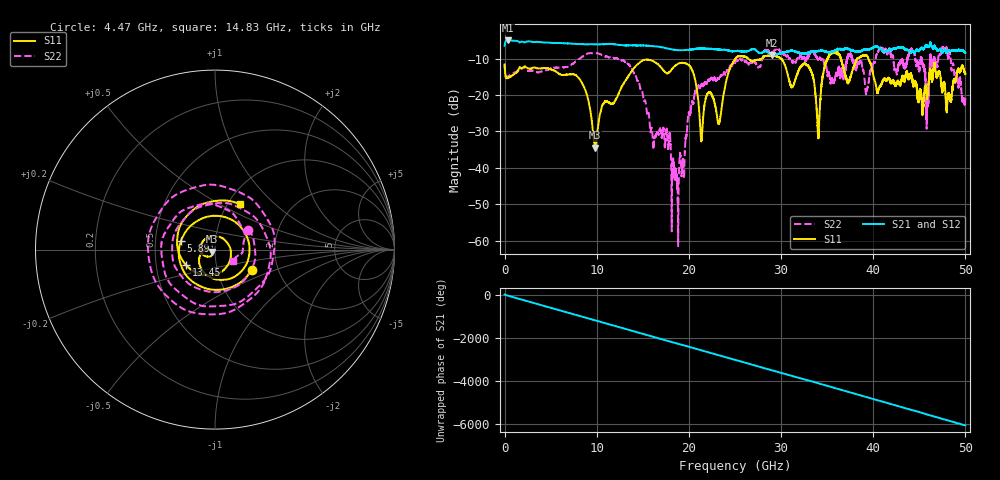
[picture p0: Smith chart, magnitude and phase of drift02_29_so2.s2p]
!Created with skrf (http://scikit-rf.org).
# Hz S RI R 50.0
!freq ReS11 ImS11 ReS21 ImS21 ReS12 ImS12 ReS22 ImS22
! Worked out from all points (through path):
!   10001 points, 300 kHz to 50 GHz, reference 50 ohm
!   highest |S21| = -5.04 dB at 375.3 MHz (marker M1); lowest = -9.0 dB at 28.98 GHz (marker M2)
!   group delay of S21, straight-line fit = 336 ps
!   lowest |S11| = -34.5 dB at 9.84 GHz (marker M3), VSWR 1.04, Z = 48.5 - j1.05 ohm
!   |S11| at or under -10 dB: start of sweep to 25.06 GHz; 29.98 GHz to 35.04 GHz (5.064 GHz wide, 15.6 % of centre); 39.47 GHz to end of sweep (the widest 3 of 10)
!   |S22| runs from -61.5 to -6.8 dB; largest |S21 - S12| = 0.02
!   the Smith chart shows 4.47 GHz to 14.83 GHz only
!   S11 on the Smith chart (normalised r, x): 4.47 GHz: 1.46, -0.35; 5.89 GHz: 0.68, +0.07; 13.45 GHz: 0.71, -0.13; 14.83 GHz: 1.14, +0.63
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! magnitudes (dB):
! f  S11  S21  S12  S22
! 300 kHz  -11.6  -6.5  -6.5  -11.6
! 375.3 MHz  -15.3  -5.0  -5.0  -14.9
! 4.47 GHz  -12.6  -5.6  -5.6  -13.2
! 5.89 GHz  -14.2  -5.7  -5.7  -12.5
! 8.335 GHz  -16.4  -6.0  -6.0  -9.6
! 9.84 GHz  -34.5  -6.1  -6.1  -8.5
! 13.45 GHz  -14.8  -6.4  -6.4  -11.6
! 14.83 GHz  -10.8  -6.4  -6.4  -18.6
! 16.67 GHz  -11.6  -6.7  -6.7  -30.7
! 18.68 GHz  -11.7  -7.7  -7.7  -43.3
! 20.37 GHz  -13.3  -7.5  -7.5  -21.9
! 21.37 GHz  -32.3  -7.2  -7.3  -17.0
! 23.31 GHz  -27.5  -7.6  -7.6  -15.6
! 25 GHz  -10.3  -8.0  -8.0  -11.1
! 28.98 GHz  -9.2  -9.0  -9.0  -8.4
! 33.34 GHz  -13.9  -8.1  -8.1  -8.1
! 34.02 GHz  -30.9  -7.9  -7.9  -10.3
! 35.52 GHz  -8.5  -8.2  -8.1  -15.6
! 41.67 GHz  -15.4  -7.7  -7.8  -7.6
! 45.85 GHz  -21.1  -6.7  -6.6  -23.0
! 47.77 GHz  -17.6  -7.6  -7.6  -7.4
! 50 GHz  -14.3  -8.4  -8.4  -20.6
